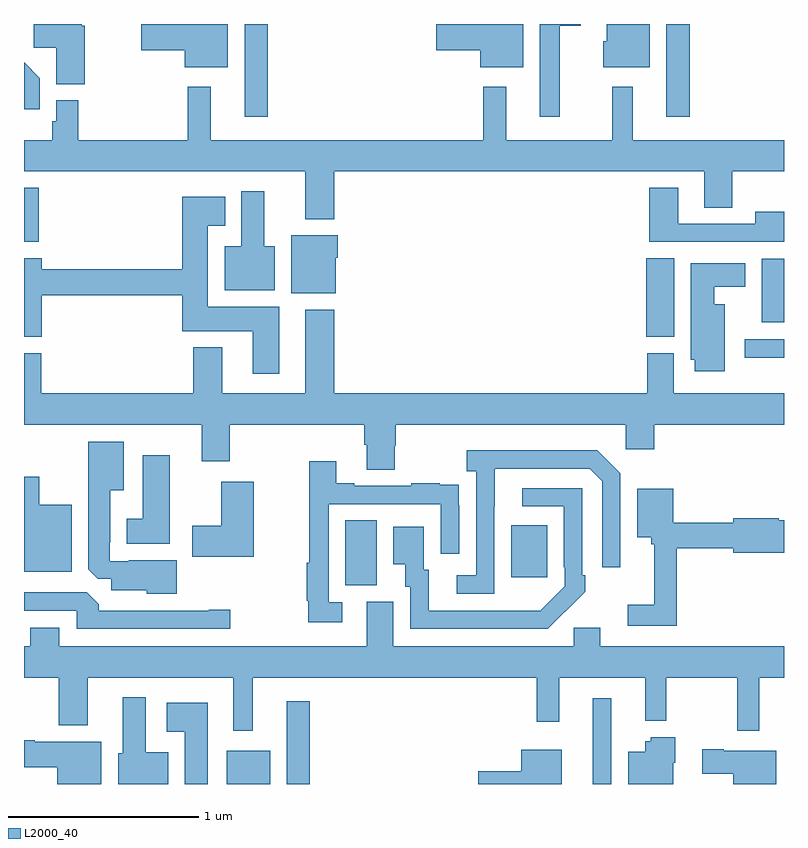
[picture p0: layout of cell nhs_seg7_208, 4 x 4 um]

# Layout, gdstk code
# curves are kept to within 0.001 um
import gdstk
lib = gdstk.Library(unit=1e-6, precision=1e-09)
def R(c, l, rs):  # rectangles x0, y0, x1, y1
    for r in rs: c.add(gdstk.rectangle(r[:2], r[2:], *l))
def P(c, l, *ps):  # polygons
    for p in ps: c.add(gdstk.Polygon(p, *l))
L2000_40 = (2000, 40)

nhs_seg7_208 = lib.new_cell('nhs_seg7_208')
R(nhs_seg7_208, L2000_40, [(126.068,1056,126.295,1056.175), (126.383,1056,126.505,1056.436), (127.994,1056,128.091,1056.451), (126.692,1057.045,126.856,1057.388), (127.565,1057.089,127.753,1057.363), (128.793,1058.243,129,1058.34), (128.276,1058.353,128.422,1058.768), (128.882,1058.429,129,1058.764), (125,1058.853,125.078,1059.139), (126.161,1059.513,126.283,1060), (128.381,1059.513,128.503,1060)])
P(nhs_seg7_208, L2000_40, [(126.073,1060),(125.616,1060),(125.616,1059.862),(125.846,1059.862),(125.846,1059.773),(126.073,1059.773)],
  [(127.627,1060),(127.17,1060),(127.17,1059.862),(127.4,1059.862),(127.4,1059.773),(127.627,1059.773)],
  [(125.32,1059.99),(125.304,1059.99),(125.304,1060),(125.05,1060),(125.05,1059.874),(125.171,1059.874),(125.171,1059.683),(125.32,1059.683)],
  [(127.819,1059.992),(127.93,1059.992),(127.93,1060),(127.715,1060),(127.715,1059.513),(127.819,1059.513)],
  [(128.293,1060),(128.066,1060),(128.066,1059.909),(128.048,1059.909),(128.048,1059.773),(128.293,1059.773)],
  [(125.084,1059.714),(125,1059.798),(125,1059.552),(125.084,1059.552)],
  [(126.632,1059.224),(128.579,1059.224),(128.579,1059.034),(128.727,1059.034),(128.727,1059.224),(129,1059.224),(129,1059.388),(128.203,1059.388),(128.203,1059.67),(128.097,1059.67),(128.097,1059.388),(127.537,1059.388),(127.537,1059.67),(127.416,1059.67),(127.416,1059.388),(125.983,1059.388),(125.983,1059.67),(125.862,1059.67),(125.862,1059.388),(125.285,1059.388),(125.285,1059.598),(125.169,1059.598),(125.169,1059.489),(125.149,1059.489),(125.149,1059.388),(125,1059.388),(125,1059.224),(126.479,1059.224),(126.479,1058.972),(126.632,1058.972)],
  [(129,1059.013),(128.848,1059.013),(128.848,1058.949),(128.443,1058.949),(128.443,1059.139),(128.291,1059.139),(128.291,1058.853),(129,1058.853)],
  [(126.319,1058.83),(126.265,1058.83),(126.265,1059.121),(126.143,1059.121),(126.143,1058.83),(126.056,1058.83),(126.056,1058.6),(126.319,1058.6)],
  [(126.343,1058.512),(125.968,1058.512),(125.968,1058.939),(126.058,1058.939),(126.058,1059.091),(125.834,1059.091),(125.834,1058.708),(125.093,1058.708),(125.093,1058.768),(125,1058.768),(125,1058.353),(125.093,1058.353),(125.093,1058.572),(125.834,1058.572),(125.834,1058.384),(126.203,1058.384),(126.203,1058.16),(126.343,1058.16)],
  [(126.64,1058.769),(126.652,1058.769),(126.652,1058.887),(126.407,1058.887),(126.407,1058.582),(126.64,1058.582)],
  [(128.689,1058.524),(128.632,1058.524),(128.632,1058.618),(128.797,1058.618),(128.797,1058.74),(128.51,1058.74),(128.51,1058.232),(128.531,1058.232),(128.531,1058.172),(128.689,1058.172)],
  [(126.951,1057.779),(126.956,1057.779),(126.956,1057.892),(128.166,1057.892),(128.166,1057.761),(128.318,1057.761),(128.318,1057.892),(129,1057.892),(129,1058.056),(128.419,1058.056),(128.419,1058.268),(128.279,1058.268),(128.279,1058.056),(126.632,1058.056),(126.632,1058.497),(126.479,1058.497),(126.479,1058.056),(126.043,1058.056),(126.043,1058.299),(125.891,1058.299),(125.891,1058.056),(125.09,1058.056),(125.09,1058.268),(125,1058.268),(125,1057.892),(125.936,1057.892),(125.936,1057.698),(126.084,1057.698),(126.084,1057.892),(126.791,1057.892),(126.791,1057.786),(126.803,1057.786),(126.803,1057.654),(126.951,1057.654)],
  [(125.803,1057.177),(125.551,1057.177),(125.551,1057.173),(125.451,1057.173),(125.451,1057.273),(125.455,1057.273),(125.455,1057.547),(125.524,1057.547),(125.524,1057.801),(125.339,1057.801),(125.339,1057.129),(125.388,1057.08),(125.459,1057.08),(125.459,1057.019),(125.646,1057.019),(125.646,1057.001),(125.803,1057.001)],
  [(127.476,1057.459),(127.477,1057.659),(127.977,1057.659),(128.043,1057.593),(128.043,1057.14),(128.139,1057.14),(128.139,1057.635),(128.018,1057.756),(127.329,1057.756),(127.329,1057.646),(127.38,1057.646),(127.38,1057.098),(127.278,1057.098),(127.278,1057.002),(127.476,1057.002)],
  [(125.767,1057.729),(125.624,1057.729),(125.624,1057.396),(125.54,1057.396),(125.54,1057.265),(125.767,1057.265)],
  [(126.676,1056.957),(126.603,1056.957),(126.603,1057.473),(127.194,1057.473),(127.194,1057.212),(127.29,1057.212),(127.29,1057.466),(127.289,1057.466),(127.289,1057.575),(127.187,1057.575),(127.187,1057.582),(127.039,1057.582),(127.039,1057.569),(126.739,1057.569),(126.739,1057.582),(126.643,1057.582),(126.643,1057.699),(126.502,1057.699),(126.502,1057.164),(126.487,1057.164),(126.487,1056.964),(126.495,1056.964),(126.495,1056.852),(126.676,1056.852)],
  [(125.251,1057.471),(125.08,1057.471),(125.08,1057.618),(125,1057.618),(125,1057.118),(125.251,1057.118)],
  [(126.208,1057.591),(126.038,1057.591),(126.038,1057.359),(125.886,1057.359),(125.886,1057.196),(126.208,1057.196)],
  [(127.847,1056.907),(127.848,1056.906),(127.953,1057.011),(127.953,1057.099),(127.938,1057.099),(127.938,1057.557),(127.623,1057.557),(127.623,1057.461),(127.842,1057.461),(127.842,1057.141),(127.845,1057.141),(127.845,1057.041),(127.717,1056.913),(127.129,1056.912),(127.129,1057.128),(127.105,1057.128),(127.105,1057.354),(126.944,1057.354),(126.944,1057.157),(127.007,1057.157),(127.007,1057.038),(127.032,1057.038),(127.032,1056.816),(127.756,1056.816)],
  [(128.435,1057.24),(128.732,1057.24),(128.732,1057.217),(129,1057.217),(129,1057.387),(128.972,1057.387),(128.972,1057.4),(128.732,1057.4),(128.732,1057.376),(128.416,1057.376),(128.416,1057.555),(128.228,1057.555),(128.228,1057.298),(128.3,1057.298),(128.3,1057.263),(128.318,1057.263),(128.318,1056.943),(128.178,1056.943),(128.178,1056.834),(128.435,1056.834)],
  [(126.085,1056.917),(125.972,1056.917),(125.972,1056.912),(125.393,1056.912),(125.393,1056.946),(125.331,1057.008),(125,1057.008),(125,1056.912),(125.277,1056.912),(125.277,1056.816),(126.085,1056.816)],
  [(126.943,1056.96),(126.803,1056.96),(126.803,1056.724),(125.185,1056.724),(125.185,1056.823),(125.033,1056.823),(125.033,1056.724),(125,1056.724),(125,1056.56),(125.183,1056.56),(125.183,1056.308),(125.335,1056.308),(125.335,1056.56),(126.101,1056.56),(126.101,1056.279),(126.205,1056.279),(126.205,1056.56),(127.699,1056.56),(127.699,1056.327),(127.817,1056.327),(127.817,1056.56),(128.27,1056.56),(128.27,1056.332),(128.38,1056.332),(128.38,1056.56),(128.755,1056.56),(128.755,1056.279),(128.869,1056.279),(128.869,1056.56),(129,1056.56),(129,1056.724),(128.032,1056.724),(128.032,1056.822),(127.893,1056.822),(127.893,1056.724),(126.943,1056.724)],
  [(125.758,1056.166),(125.641,1056.166),(125.641,1056.457),(125.519,1056.457),(125.519,1056.162),(125.495,1056.162),(125.495,1056),(125.758,1056)],
  [(125.968,1056.427),(125.751,1056.427),(125.751,1056.275),(125.846,1056.275),(125.846,1056),(125.968,1056)],
  [(128.416,1056.111),(128.428,1056.111),(128.428,1056.247),(128.298,1056.247),(128.298,1056.225),(128.27,1056.225),(128.27,1056.169),(128.18,1056.169),(128.18,1056),(128.416,1056)],
  [(125.407,1056.223),(125.056,1056.223),(125.056,1056.231),(125,1056.231),(125,1056.089),(125.174,1056.089),(125.174,1056),(125.407,1056)],
  [(128.959,1056.175),(128.683,1056.175),(128.683,1056.183),(128.571,1056.183),(128.571,1056.053),(128.732,1056.053),(128.732,1056),(128.959,1056)],
  [(127.831,1056.181),(127.616,1056.181),(127.616,1056.068),(127.392,1056.068),(127.392,1056),(127.831,1056)])

lib.write_gds('nhs_seg7_208.gds')
